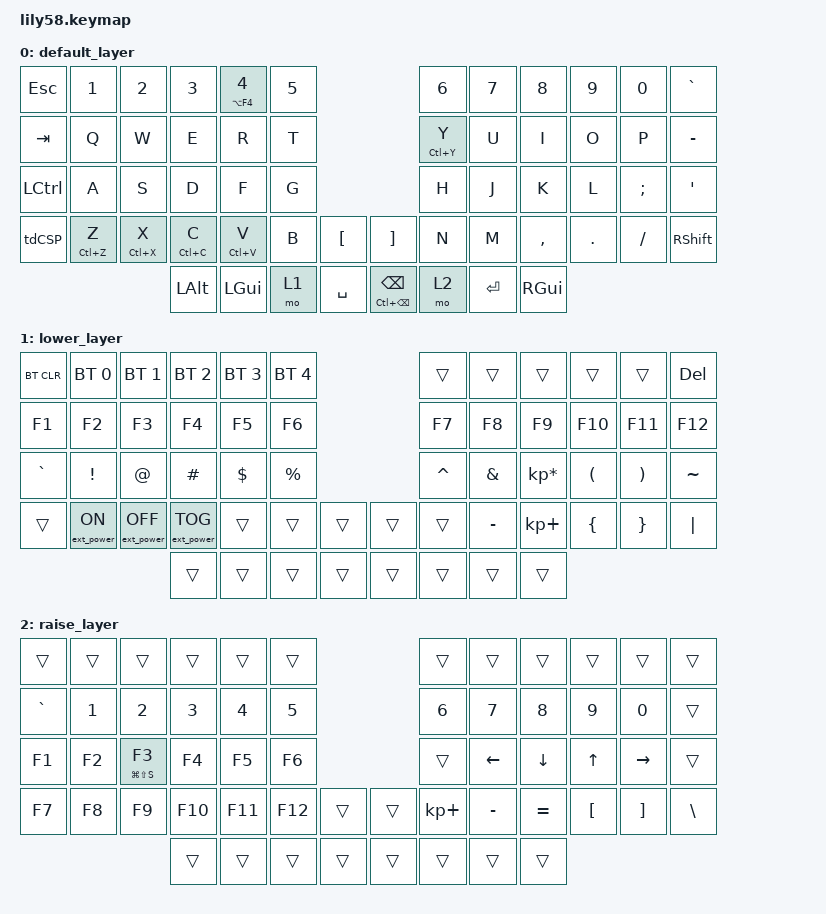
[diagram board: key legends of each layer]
/*
 * Copyright (c) 2020 The ZMK Contributors
 *
 * SPDX-License-Identifier: MIT
 */

#include <behaviors.dtsi>
#include <dt-bindings/zmk/keys.h>
#include <dt-bindings/zmk/bt.h>
#include <dt-bindings/zmk/ext_power.h>

/ {
    left_encoder: encoder_left {
        compatible = "alps,ec11";
        label = "LEFT_ENCODER";
        a-gpios = <&pro_micro 21 (GPIO_ACTIVE_HIGH | GPIO_PULL_UP)>;
        b-gpios = <&pro_micro 20 (GPIO_ACTIVE_HIGH | GPIO_PULL_UP)>;
        steps = <80>;
    };

    behaviors {
        hm: homerow-mods {
            compatible = "zmk,behavior-hold-tap";
            label = "homehow-mods";
            #binding-cells = <2>;
            tapping-term-ms = <175>;
            flavor = "tap-preferred";
            quick-tap-ms = <125>;
            global-quick-tap;
            bindings = <&kp>, <&kp>; 
        };
        tdCSP: tap_dance_caps {
            compatible = "zmk,behavior-tap-dance";
            label = "TAP_DANCE_CAPS";
            #binding-cells = <0>;
            tapping-term-ms = <200>;
            bindings = <&sk LSHFT>, <&kp CAPSLOCK>;
        };
        tdBOOT: tap_dance_boot {
            compatible = "zmk,behavior-tap-dance";
            label = "TAP_DANCE_BOOTLOADER";
            #binding-cells = <0>;
            tapping-term-ms = <200>;
            bindings = <&kp N0>, <&kp N0>, <&bootloader>;
        };
    };

    keymap {
        compatible = "zmk,keymap";

        default_layer {
// ------------------------------------------------------------------------------------------------------------
// |  ESC  |  1  |  2  |  3   |  4   |  5   |                   |  6   |  7    |  8    |  9   |   0   |   `   |
// |  TAB  |  Q  |  W  |  E   |  R   |  T   |                   |  Y   |  U    |  I    |  O   |   P   |   -   |
// |  CTRL |  A  |  S  |  D   |  F   |  G   |                   |  H   |  J    |  K    |  L   |   ;   |   '   |
// | SHIFT |  Z  |  X  |  C   |  V   |  B   |   "["  |  |  "]"  |  N   |  M    |  ,    |  .   |   /   | SHIFT |
//                     | ALT  | GUI  | LOWER|  SPACE |  | BSPC | RAISE| ENTER  | GUI   |
            bindings = <
&kp ESC   &kp N1 &kp N2 &kp N3   &hm LA(F4) N4   &kp N5              &kp N6 &kp N7   &kp N8    &kp N9  &kp N0   &kp GRAVE
&kp TAB   &kp Q  &kp W  &kp E    &kp R    &kp T                      &hm LC(Y) Y  &kp U    &kp I     &kp O   &kp P    &kp MINUS
&kp LCTRL &kp A  &kp S  &kp D    &kp F    &kp G                      &kp H  &kp J    &kp K     &kp L   &kp SEMI &kp SQT
&tdCSP    &hm LC(Z) Z  &hm LC(X) X  &hm LC(C) C     &hm LC(V) V    &kp B  &kp LBKT   &kp RBKT &kp N  &kp M    &kp COMMA &kp DOT &kp FSLH &kp RSHFT
                        &kp LALT &kp LGUI &mo 1  &kp SPACE  &hm LC(BSPC) BSPC  &mo 2  &kp RET &kp RGUI
            >;

        };

        lower_layer {
// ------------------------------------------------------------------------------------------------------------
// | BTCLR | BT1 | BT2 |  BT3 |  BT4 |  BT5 |                   |      |       |       |      | BOOT |  DEL  |
// |  F1   |  F2 |  F3 |  F4  |  F5  |  F6  |                   |  F7  |  F8   |  F9   |  F10 |  F11  |  F12  |
// |   `   |  !  |  @  |  #   |  $   |  %   |                   |  ^   |  &    |  *    |  (   |   )   |   ~   |
// |       |     |     |      |      |      |        |  |       |      |  _    |  +    |  {   |   }   |  "|"  |
//                     |      |      |      |        |  |       |      |       |       |
            bindings = <
&bt BT_CLR &bt BT_SEL 0     &bt BT_SEL 1      &bt BT_SEL 2      &bt BT_SEL 3 &bt BT_SEL 4                 &trans    &trans    &trans          &trans    &trans    &kp DEL
&kp F1     &kp F2           &kp F3            &kp F4            &kp F5       &kp F6                       &kp F7    &kp F8    &kp F9          &kp F10   &kp F11   &kp F12
&kp GRAVE  &kp EXCL         &kp AT            &kp HASH          &kp DOLLAR   &kp PRCNT                    &kp CARET &kp AMPS  &kp KP_MULTIPLY &kp LPAR  &kp RPAR  &kp TILDE
&trans     &ext_power EP_ON &ext_power EP_OFF &ext_power EP_TOG &trans       &trans    &trans   &trans    &trans    &kp MINUS &kp KP_PLUS     &kp LBRC  &kp RBRC  &kp PIPE
                                              &trans            &trans       &trans    &trans   &trans    &trans    &trans    &trans
            >;

        };

        raise_layer {
// ------------------------------------------------------------------------------------------------------------
// |       |     |     |      |      |      |                   |      |       |       |      |       |       |
// |   `   |  1  |  2  |  3   |  4   |  5   |                   |  6   |   7   |   8   |  9   |   0   |       |
// |   F1  |  SS |  F3 |  F4  |  F5  |  F6  |                   |      |   <-  |   v   |  ^   |  ->   |       |
// |   F7  |  F8 |  F9 |  F10 |  F11 |  F12 |        |  |       |  +   |   -   |   =   |  [   |   ]   |   \   |
//                     |      |      |      |        |  |       |      |       |       |
            bindings = <
&trans    &trans &trans &trans  &trans  &trans                       &trans      &trans    &trans    &trans   &trans    &trans
&kp GRAVE &kp N1 &kp N2 &kp N3  &kp N4  &kp N5                       &kp N6      &kp N7    &kp N8    &kp N9   &kp N0    &trans
&kp F1    &kp F2 &hm LG(LS(S)) F3  &kp F4  &kp F5  &kp F6                       &trans      &kp LEFT  &kp DOWN  &kp UP   &kp RIGHT &trans
&kp F7    &kp F8 &kp F9 &kp F10 &kp F11 &kp F12   &trans   &trans    &kp KP_PLUS &kp MINUS &kp EQUAL &kp LBKT &kp RBKT  &kp BSLH
                        &trans  &trans  &trans    &trans   &trans    &trans      &trans    &trans
            >;

        };
    };
};
